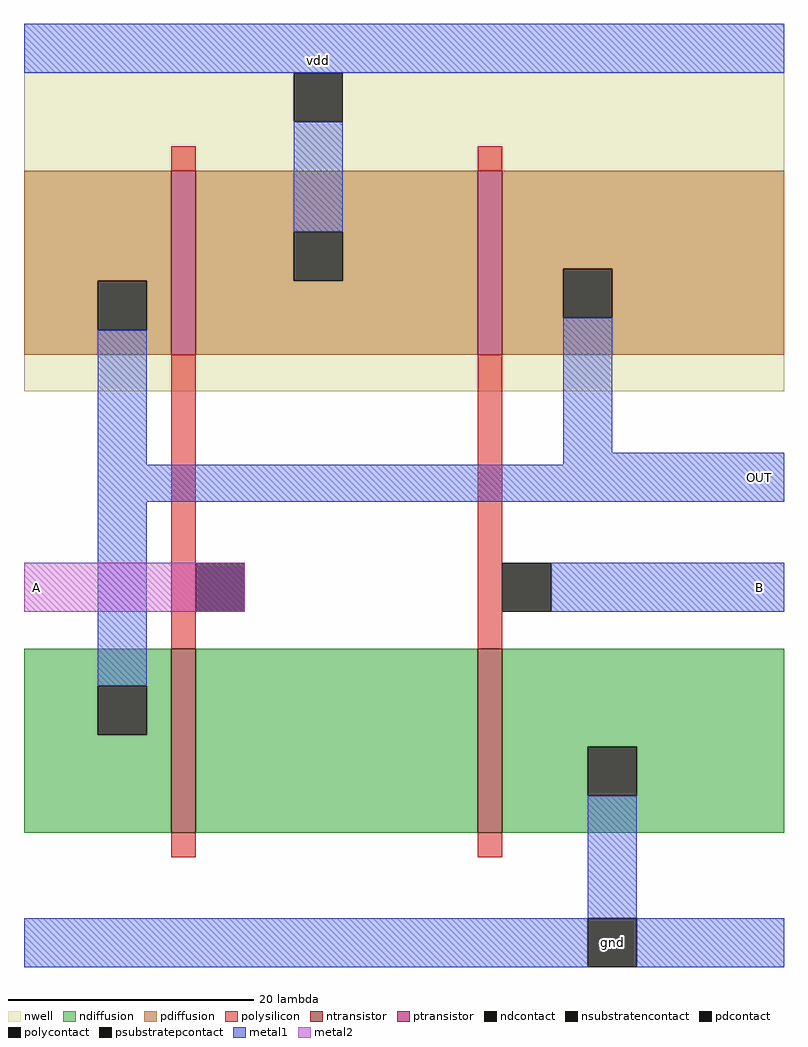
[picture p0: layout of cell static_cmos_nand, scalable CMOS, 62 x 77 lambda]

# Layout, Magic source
magic
tech scmos
<< nwell >>
rect -13 1 49 27
<< polysilicon >>
rect -1 19 1 21
rect 24 19 26 21
rect -1 -20 1 4
rect 24 -20 26 4
rect -1 -37 1 -35
rect 24 -37 26 -35
<< ndiffusion >>
rect -13 -23 -1 -20
rect -13 -27 -7 -23
rect -3 -27 -1 -23
rect -13 -35 -1 -27
rect 1 -35 24 -20
rect 26 -28 49 -20
rect 26 -32 33 -28
rect 37 -32 49 -28
rect 26 -35 49 -32
<< pdiffusion >>
rect -13 10 -1 19
rect -13 6 -7 10
rect -3 6 -1 10
rect -13 4 -1 6
rect 1 14 24 19
rect 1 10 9 14
rect 13 10 24 14
rect 1 4 24 10
rect 26 11 49 19
rect 26 7 31 11
rect 35 7 49 11
rect 26 4 49 7
<< metal1 >>
rect -13 27 49 31
rect 9 14 13 23
rect -7 -5 -3 6
rect 31 -4 35 7
rect 31 -5 49 -4
rect -7 -8 49 -5
rect -7 -23 -3 -8
rect 30 -17 49 -13
rect 33 -42 37 -32
rect -13 -46 33 -42
rect 37 -46 49 -42
<< metal2 >>
rect -13 -17 5 -13
<< ntransistor >>
rect -1 -35 1 -20
rect 24 -35 26 -20
<< ptransistor >>
rect -1 4 1 19
rect 24 4 26 19
<< polycontact >>
rect 1 -17 5 -13
rect 26 -17 30 -13
<< ndcontact >>
rect -7 -27 -3 -23
rect 33 -32 37 -28
<< pdcontact >>
rect -7 6 -3 10
rect 9 10 13 14
rect 31 7 35 11
<< psubstratepcontact >>
rect 33 -46 37 -42
<< nsubstratencontact >>
rect 9 23 13 27
<< labels >>
rlabel metal1 11 28 11 28 5 vdd
rlabel psubstratepcontact 35 -44 35 -44 1 gnd
rlabel metal1 47 -15 47 -15 7 B
rlabel metal2 -12 -15 -12 -15 3 A
rlabel metal1 47 -6 47 -6 7 OUT
<< end >>
